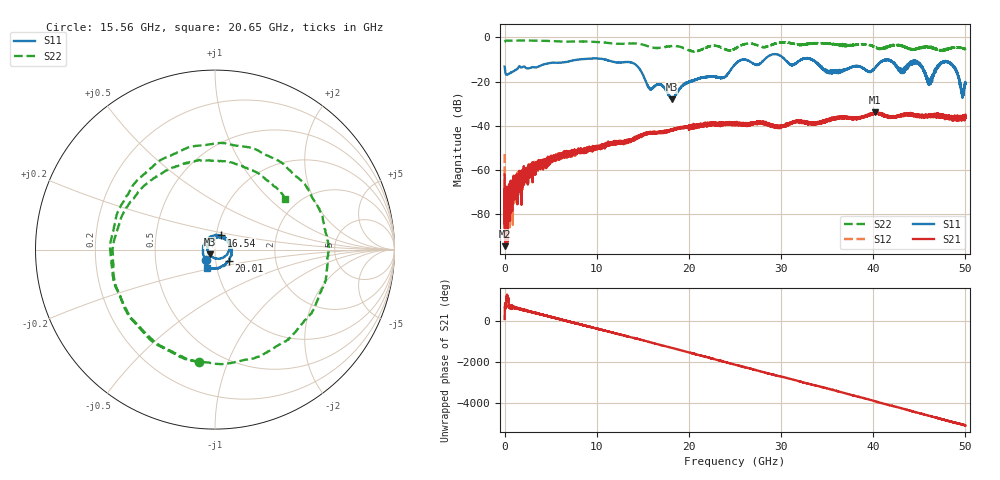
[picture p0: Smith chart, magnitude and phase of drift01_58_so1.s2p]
!Created with skrf (http://scikit-rf.org).
# Hz S RI R 50.0
!freq ReS11 ImS11 ReS21 ImS21 ReS12 ImS12 ReS22 ImS22
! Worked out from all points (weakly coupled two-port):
!   10001 points, 300 kHz to 50 GHz, reference 50 ohm
!   highest |S21| = -34.01 dB at 40.2 GHz (marker M1); lowest = -94.6 dB at 80.3 MHz (marker M2)
!   lowest |S11| = -28.0 dB at 18.11 GHz (marker M3), VSWR 1.08, Z = 47 - j2.39 ohm
!   |S11| at or under -10 dB: 10.91 GHz to 25.86 GHz (14.95 GHz wide, 81.3 % of centre); 33.38 GHz to 41.68 GHz (8.304 GHz wide, 22.1 % of centre); 41.69 GHz to end of sweep (the widest 3 of 17)
!   |S22| runs from -6.4 to -1.4 dB; largest |S21 - S12| = 0.0037
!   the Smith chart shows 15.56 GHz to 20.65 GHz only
!   S11 on the Smith chart (normalised r, x): 15.56 GHz: 0.89, -0.11; 16.54 GHz: 1.05, +0.17; 20.01 GHz: 1.16, -0.15; 20.65 GHz: 0.90, -0.18
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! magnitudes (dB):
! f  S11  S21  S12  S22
! 300 kHz  -13.2  -62.3  -52.9  -2.1
! 80.3 MHz  -15.8  -94.6  -72.5  -1.5
! 255.3 MHz  -16.9  -93.4  -72.8  -1.4
! 2.775 GHz  -13.8  -58.3  -60.2  -1.4
! 8.335 GHz  -9.9  -51.5  -51.6  -1.8
! 13.87 GHz  -11.5  -46.5  -46.5  -2.7
! 15.56 GHz  -22.1  -43.5  -43.5  -4.0
! 16.54 GHz  -21.4  -43.0  -43.1  -4.7
! 16.67 GHz  -21.2  -43.0  -42.8  -4.8
! 18.11 GHz  -28.0  -42.1  -42.3  -4.0
! 20.01 GHz  -19.9  -41.9  -40.7  -5.8
! 20.65 GHz  -19.2  -40.1  -40.6  -6.3
! 25 GHz  -12.2  -38.8  -39.6  -5.0
! 33.34 GHz  -10.0  -39.0  -39.0  -2.7
! 35.22 GHz  -15.9  -37.1  -37.6  -2.9
! 40.2 GHz  -13.8  -34.0  -34.3  -4.5
! 41.67 GHz  -10.1  -35.9  -36.0  -3.9
! 43.07 GHz  -15.9  -35.3  -35.5  -3.8
! 44.82 GHz  -11.4  -35.3  -35.4  -4.9
! 46.12 GHz  -20.1  -35.3  -35.6  -4.3
! 48.07 GHz  -11.0  -35.7  -36.2  -5.2
! 50 GHz  -21.0  -35.6  -36.1  -5.2
